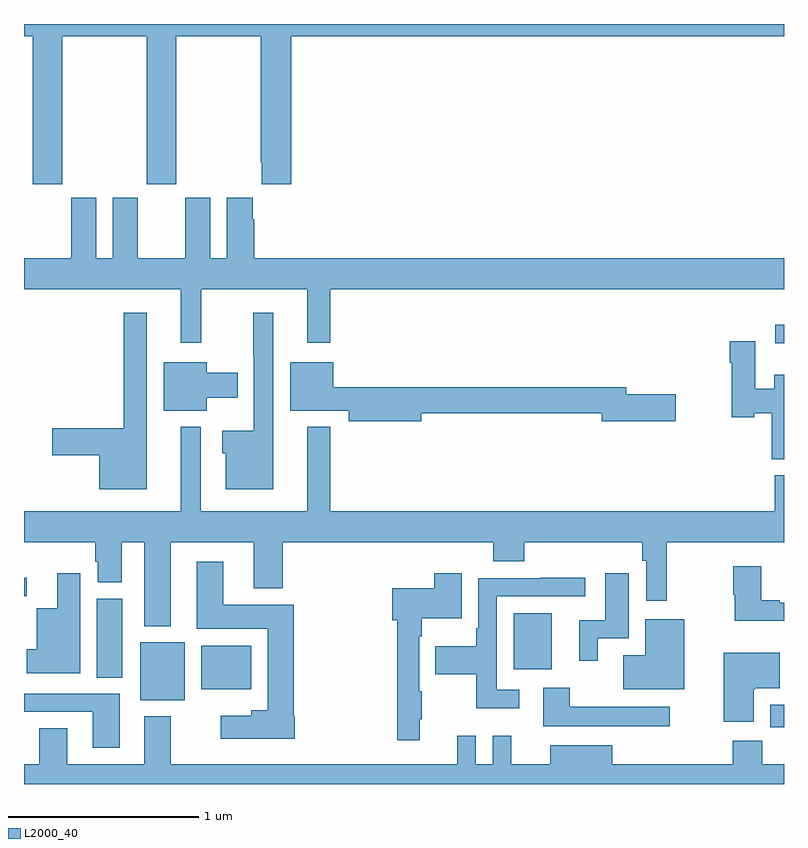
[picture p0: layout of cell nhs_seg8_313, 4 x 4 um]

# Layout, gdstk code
import gdstk
lib = gdstk.Library(unit=1e-6, precision=1e-09)
def R(c, l, rs):  # rectangles x0, y0, x1, y1
    for r in rs: c.add(gdstk.rectangle(r[:2], r[2:], *l))
def P(c, l, *ps):  # polygons
    for p in ps: c.add(gdstk.Polygon(p, *l))
L2000_40 = (2000, 40)

nhs_seg8_313 = lib.new_cell('nhs_seg8_313')
R(nhs_seg8_313, L2000_40, [(134.927,1110.198,135,1110.316), (131.612,1110.341,131.845,1110.646), (131.933,1110.398,132.196,1110.628), (131.384,1110.46,131.518,1110.876), (133.577,1110.503,133.777,1110.799), (131,1110.888,131.014,1110.986), (134.955,1112.22,135,1112.316)])
P(nhs_seg8_313, L2000_40, [(131.202,1113.836),(131.647,1113.836),(131.647,1113.057),(131.802,1113.057),(131.802,1113.836),(132.247,1113.836),(132.247,1113.169),(132.251,1113.169),(132.251,1113.057),(132.407,1113.057),(132.407,1113.836),(135,1113.836),(135,1113.9),(131,1113.9),(131,1113.836),(131.047,1113.836),(131.047,1113.057),(131.202,1113.057)],
  [(131.932,1112.504),(132.491,1112.504),(132.491,1112.223),(132.613,1112.223),(132.613,1112.504),(135,1112.504),(135,1112.668),(132.212,1112.668),(132.212,1112.873),(132.205,1112.873),(132.205,1112.986),(132.068,1112.986),(132.068,1112.668),(131.98,1112.668),(131.98,1112.986),(131.849,1112.986),(131.849,1112.668),(131.599,1112.668),(131.599,1112.986),(131.468,1112.986),(131.468,1112.668),(131.38,1112.668),(131.38,1112.986),(131.249,1112.986),(131.249,1112.668),(131,1112.668),(131,1112.504),(131.825,1112.504),(131.825,1112.223),(131.932,1112.223)],
  [(132.313,1112.38),(132.207,1112.38),(132.207,1112.152),(132.209,1112.152),(132.209,1111.759),(132.044,1111.759),(132.044,1111.641),(132.062,1111.641),(132.062,1111.451),(132.313,1111.451)],
  [(131.647,1112.38),(131.526,1112.38),(131.526,1111.772),(131.148,1111.772),(131.148,1111.63),(131.396,1111.63),(131.396,1111.451),(131.647,1111.451)],
  [(135,1112.053),(134.948,1112.053),(134.948,1111.981),(134.848,1111.981),(134.848,1112.23),(134.714,1112.23),(134.714,1112.117),(134.726,1112.117),(134.726,1111.829),(134.844,1111.829),(134.844,1111.852),(134.936,1111.852),(134.936,1111.609),(135,1111.609)],
  [(133.09,1111.852),(134.042,1111.852),(134.042,1111.81),(134.431,1111.81),(134.431,1111.952),(134.17,1111.952),(134.17,1111.988),(132.628,1111.988),(132.628,1112.119),(132.401,1112.119),(132.401,1111.865),(132.71,1111.865),(132.71,1111.81),(133.09,1111.81)],
  [(131.962,1111.934),(132.124,1111.934),(132.124,1112.064),(131.962,1112.064),(131.962,1112.119),(131.735,1112.119),(131.735,1111.865),(131.962,1111.865)],
  [(131,1111.172),(131.375,1111.172),(131.375,1111.071),(131.387,1111.071),(131.387,1110.961),(131.515,1110.961),(131.515,1111.172),(131.633,1111.172),(131.633,1110.731),(131.773,1110.731),(131.773,1111.172),(132.209,1111.172),(132.209,1110.929),(132.362,1110.929),(132.362,1111.172),(133.469,1111.172),(133.469,1111.073),(133.634,1111.073),(133.634,1111.172),(134.254,1111.172),(134.254,1111.076),(134.274,1111.076),(134.274,1110.864),(134.383,1110.864),(134.383,1111.172),(135,1111.172),(135,1111.524),(134.951,1111.524),(134.951,1111.336),(132.613,1111.336),(132.613,1111.78),(132.491,1111.78),(132.491,1111.336),(131.929,1111.336),(131.929,1111.78),(131.825,1111.78),(131.825,1111.336),(131,1111.336)],
  [(132.424,1110.255),(132.419,1110.255),(132.419,1110.844),(132.049,1110.844),(132.049,1111.069),(131.909,1111.069),(131.909,1110.716),(132.284,1110.716),(132.284,1110.289),(132.197,1110.289),(132.197,1110.259),(132.036,1110.259),(132.036,1110.137),(132.424,1110.137)],
  [(135,1110.855),(134.977,1110.855),(134.977,1110.868),(134.881,1110.868),(134.881,1111.045),(134.734,1111.045),(134.734,1110.897),(134.741,1110.897),(134.741,1110.758),(135,1110.758)],
  [(133.082,1110.241),(133.093,1110.241),(133.093,1110.389),(133.08,1110.389),(133.08,1110.677),(133.093,1110.677),(133.093,1110.773),(133.303,1110.773),(133.303,1111.009),(133.16,1111.009),(133.16,1110.931),(132.938,1110.931),(132.938,1110.761),(132.964,1110.761),(132.964,1110.129),(133.082,1110.129)],
  [(134.02,1110.666),(134.182,1110.666),(134.182,1111.009),(134.06,1111.009),(134.06,1110.762),(133.922,1110.762),(133.922,1110.549),(134.02,1110.549)],
  [(131.296,1111.009),(131.174,1111.009),(131.174,1110.826),(131.066,1110.826),(131.066,1110.61),(131.015,1110.61),(131.015,1110.482),(131.296,1110.482)],
  [(133.606,1110.396),(133.488,1110.396),(133.488,1110.888),(133.954,1110.888),(133.954,1110.986),(133.717,1110.986),(133.717,1110.984),(133.392,1110.984),(133.392,1110.721),(133.38,1110.721),(133.38,1110.625),(133.165,1110.625),(133.165,1110.478),(133.38,1110.478),(133.38,1110.299),(133.606,1110.299)],
  [(134.476,1110.766),(134.27,1110.766),(134.27,1110.577),(134.153,1110.577),(134.153,1110.398),(134.476,1110.398)],
  [(134.842,1110.398),(134.848,1110.398),(134.848,1110.404),(134.977,1110.404),(134.977,1110.592),(134.684,1110.592),(134.684,1110.228),(134.842,1110.228)],
  [(134.398,1110.307),(133.873,1110.307),(133.873,1110.406),(133.733,1110.406),(133.733,1110.203),(134.398,1110.203)],
  [(131.503,1110.375),(131,1110.375),(131,1110.279),(131.363,1110.279),(131.363,1110.09),(131.503,1110.09)],
  [(135,1110.004),(134.885,1110.004),(134.885,1110.128),(134.729,1110.128),(134.729,1110.004),(134.095,1110.004),(134.095,1110.103),(133.769,1110.103),(133.769,1110.004),(133.565,1110.004),(133.565,1110.154),(133.467,1110.154),(133.467,1110.004),(133.377,1110.004),(133.377,1110.154),(133.28,1110.154),(133.28,1110.004),(131.773,1110.004),(131.773,1110.256),(131.633,1110.256),(131.633,1110.004),(131.227,1110.004),(131.227,1110.194),(131.08,1110.194),(131.08,1110.004),(131,1110.004),(131,1109.9),(135,1109.9)])

lib.write_gds('nhs_seg8_313.gds')
